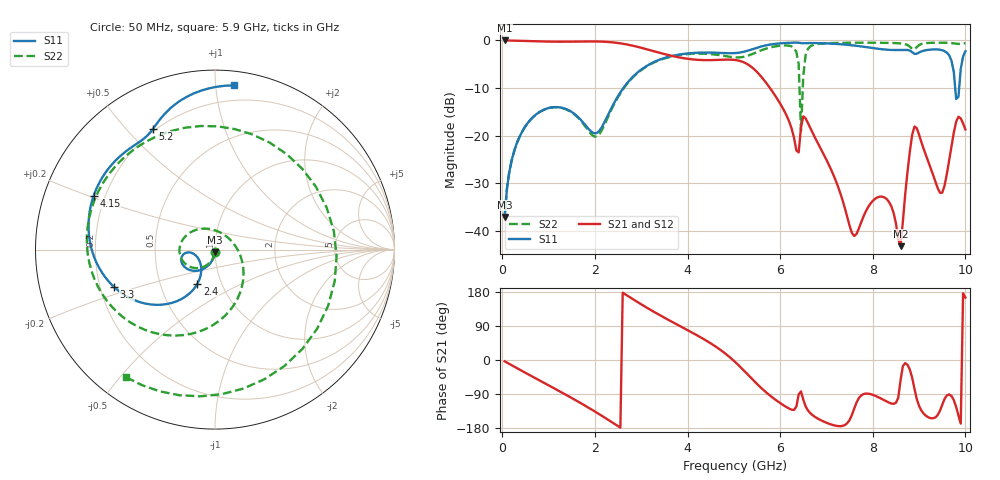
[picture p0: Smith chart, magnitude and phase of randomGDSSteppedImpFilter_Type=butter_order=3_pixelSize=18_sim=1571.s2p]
! freq	dB(S11)	phase(S11)	dB(S12)	phase(S12)
!  dB(S21)	phase(S21)	dB(S22)	phase(S22)
!S-par simulation data
#  GHz  S  DB  R 50
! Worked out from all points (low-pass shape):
!   200 points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, 50 MHz to 10 GHz, reference 50 ohm
!   highest |S21| = -0.01 dB at 50 MHz (marker M1); lowest = -43.3 dB at 8.6 GHz (marker M2)
!   |S21| within 3 dB of the highest: start of sweep to 3.557 GHz
!   lowest |S11| = -37.1 dB at 50 MHz (marker M3), VSWR 1.03, Z = 49.9 - j1.39 ohm
!   |S11| at or under -10 dB: start of sweep to 2.616 GHz; 9.78 GHz to 9.866 GHz (86.05 MHz wide, 0.876 % of centre)
!   |S22| runs from -37.1 to -0.5 dB; largest |S21 - S12| = 0
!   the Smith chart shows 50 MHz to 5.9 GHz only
!   S11 on the Smith chart (normalised r, x): 50 MHz: 1.00, -0.03; 2.4 GHz: 0.77, -0.31; 3.3 GHz: 0.26, -0.17; 4.15 GHz: 0.16, +0.21; 5.2 GHz: 0.19, +0.60; 5.9 GHz: 0.09, +1.12
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0.05  -37.12 -92.5  -0.01 -3.5  -0.01 -3.5  -37.14 -93.1
0.6  -16.77 -127.2  -0.15 -40.5  -0.15 -40.5  -16.78 -134.5
1.75  -17.30 -172.8  -0.23 -117.7  -0.23 -117.7  -17.55 118.0
2.4  -13.41 -117.3  -0.43 -166.7  -0.43 -166.7  -13.70 -39.6
3.3  -4.43 -159.8  -2.35 125.3  -2.35 125.3  -4.53 -131.2
3.4  -4.04 -165.4  -2.61 118.4  -2.61 118.4  -4.13 -139.2
4.15  -2.62 156.0  -4.03 68.9  -4.03 68.9  -2.79 162.0
5.05  -2.65 121.3  -4.14 -7.7  -4.14 -7.7  -3.57 42.7
5.2  -2.42 117.1  -4.54 -25.7  -4.54 -25.7  -3.48 8.9
5.55  -1.39 103.1  -7.15 -69.0  -7.15 -69.0  -2.24 -69.1
5.9  -0.71 83.4  -11.72 -105.0  -11.72 -105.0  -1.24 -125.1
6.35  -0.47 55.6  -23.14 -123.1  -23.14 -123.1  -2.43 166.3
6.45  -0.56 48.9  -18.27 -82.9  -18.27 -82.9  -18.98 121.4
6.55  -0.58 43.2  -16.38 -122.4  -16.38 -122.4  -3.06 -132.8
6.7  -0.55 33.2  -19.43 -145.6  -19.43 -145.6  -1.01 -163.5
7.8  -1.33 -68.4  -37.00 -89.9  -37.00 -89.9  -0.49 131.5
8.35  -1.98 -148.8  -33.95 -112.5  -33.95 -112.5  -0.52 108.7
8.6  -2.00 171.5  -43.26 -53.6  -43.26 -53.6  -0.63 97.9
8.9  -2.85 127.7  -18.10 -75.6  -18.10 -75.6  -1.89 91.5
9.45  -1.96 67.7  -32.03 -134.1  -32.03 -134.1  -0.48 70.1
9.8  -12.30 26.1  -17.10 -123.7  -17.10 -123.7  -0.71 56.3
10  -2.27 71.0  -18.71 164.8  -18.71 164.8  -0.58 50.2
